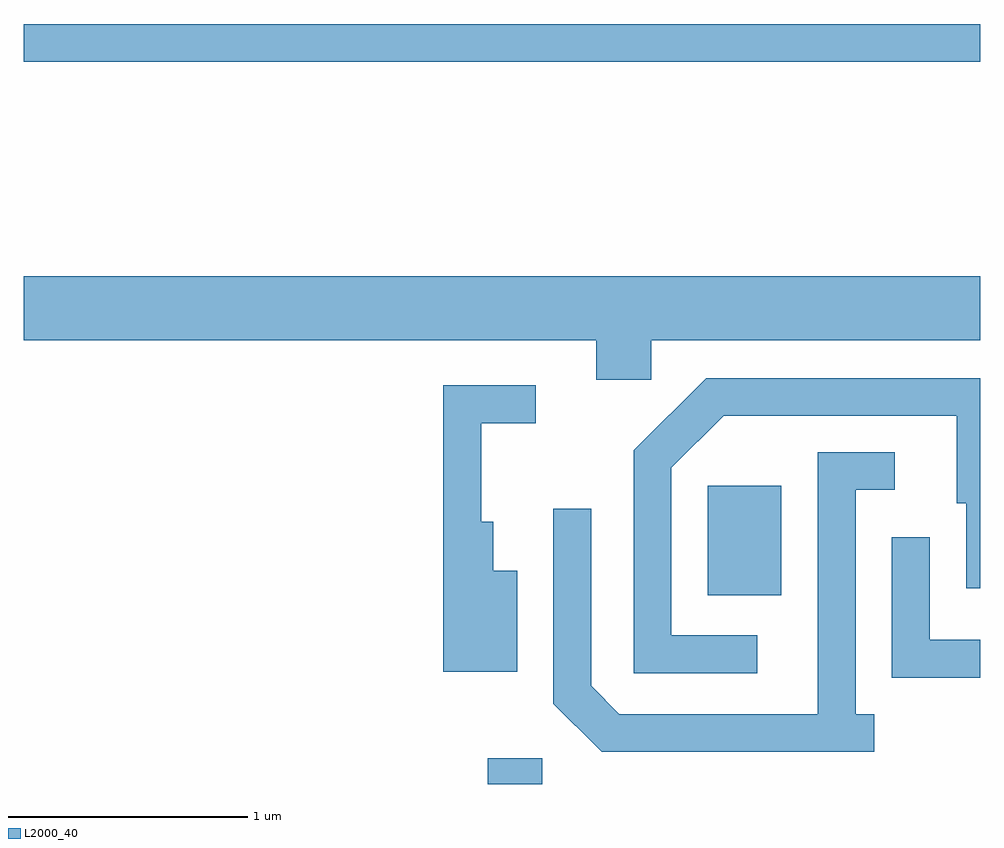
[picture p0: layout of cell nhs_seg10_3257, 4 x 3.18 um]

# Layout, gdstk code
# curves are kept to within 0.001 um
import gdstk
lib = gdstk.Library(unit=1e-6, precision=1e-09)
def R(c, l, rs):  # rectangles x0, y0, x1, y1
    for r in rs: c.add(gdstk.rectangle(r[:2], r[2:], *l))
def P(c, l, *ps):  # polygons
    for p in ps: c.add(gdstk.Polygon(p, *l))
L2000_40 = (2000, 40)

nhs_seg10_3257 = lib.new_cell('nhs_seg10_3257')
R(nhs_seg10_3257, L2000_40, [(283.551,2096.522,283.779,2096.629), (284.471,2097.311,284.779,2097.769), (281.611,2099.541,285.611,2099.699)])
P(nhs_seg10_3257, L2000_40, [(284.234,2098.376),(285.611,2098.376),(285.611,2098.644),(281.611,2098.644),(281.611,2098.376),(284.006,2098.376),(284.006,2098.211),(284.234,2098.211)],
  [(284.678,2097.144),(284.319,2097.144),(284.319,2097.844),(284.537,2098.061),(285.511,2098.061),(285.511,2097.696),(285.551,2097.696),(285.551,2097.341),(285.611,2097.341),(285.611,2098.219),(284.464,2098.219),(284.161,2097.917),(284.161,2096.986),(284.678,2096.986)],
  [(283.674,2097.414),(283.574,2097.414),(283.574,2097.619),(283.524,2097.619),(283.524,2098.031),(283.753,2098.031),(283.753,2098.189),(283.366,2098.189),(283.366,2096.991),(283.674,2096.991)],
  [(285.168,2096.814),(285.089,2096.814),(285.089,2097.751),(285.253,2097.751),(285.253,2097.909),(284.931,2097.909),(284.931,2096.814),(284.102,2096.814),(283.984,2096.932),(283.984,2097.673),(283.826,2097.673),(283.826,2096.858),(284.029,2096.656),(285.168,2096.656)],
  [(285.611,2097.124),(285.399,2097.124),(285.399,2097.553),(285.241,2097.553),(285.241,2096.966),(285.611,2096.966)])

lib.write_gds('nhs_seg10_3257.gds')
